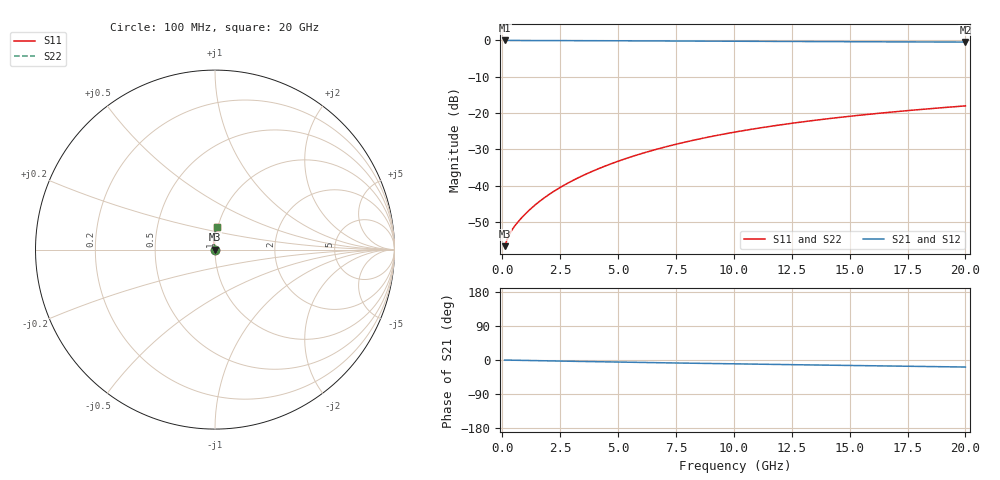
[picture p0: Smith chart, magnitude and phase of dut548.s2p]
! Touchstone file exported from HFSS 2024.1.0
!  File:  C:/UserFiles/LocalFiles/RDL_TSV_Batchsim/temp_RDL_top_548_1779680859.aedt
!  Generated:  11:49:39 AM May 25, 2026
!  Design:  RDL_top
!  Project:  temp_RDL_top_548_1779680859
!  Setup:  Setup1
!  Solution:  Sweep
! Variables:
!  dtsv = 10.80580581um
!  hbump = 3um
!  htsv = 71.25um
!  ldown = 100um
!  lrdl = 300.99um
!  p = 40
!  p1 = 40.96um
!  rhole = 1um
!  t = 450um
!  tdown = 3.915915916um
!  trdl = 3.37um
!  wdown = 15.38538539um
!  wrdl = 29.09um
# GHz S MA R 50.000000
! Terminal data exported
! Port[1] = Box2_T1
! Port[2] = Box2_T2
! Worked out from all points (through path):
!   200 points, 100 MHz to 20 GHz, reference 50 ohm
!   highest |S21| = -0.01 dB at 100 MHz (marker M1); lowest = -0.5 dB at 20 GHz (marker M2)
!   group delay of S21, straight-line fit = 2.53 ps
!   lowest |S11| = -56.6 dB at 100 MHz (marker M3), VSWR 1.00, Z = 50.1 + j0.054 ohm
!   |S11| at or under -10 dB: start of sweep to end of sweep
!   |S22| runs from -56.6 to -18.0 dB; largest |S21 - S12| = 2.7e-15
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0.1  0.001476 21.4  0.9986 -0.1  0.9986 -0.1  0.001476 21.4
! Gamma 0 0 0 0
! Port Impedance 50 0 50 0
0.2  0.001795 34.0  0.9985 -0.2  0.9985 -0.2  0.001795 34.0
0.3  0.00212 41.1  0.9983 -0.4  0.9983 -0.4  0.00212 41.1
0.4  0.002417 46.2  0.9982 -0.5  0.9982 -0.5  0.002417 46.2
0.5  0.002696 50.5  0.9981 -0.6  0.9981 -0.6  0.002696 50.5
0.8  0.003526 61.0  0.9978 -0.9  0.9978 -0.9  0.003526 61.0
1.2  0.004734 71.1  0.9974 -1.4  0.9974 -1.4  0.004734 71.1
1.7  0.006421 79.5  0.9967 -1.9  0.9967 -1.9  0.006421 79.5
2.2  0.008286 85.4  0.9958 -2.5  0.9958 -2.5  0.008286 85.4
2.8  0.01075 90.3  0.9946 -3.1  0.9946 -3.1  0.01075 90.3
3.5  0.01392 94.2  0.9928 -3.9  0.9928 -3.9  0.01392 94.2
4.2  0.01741 96.8  0.9908 -4.6  0.9908 -4.6  0.01741 96.8
5  0.02176 98.6  0.9884 -5.5  0.9884 -5.5  0.02176 98.6
5.9  0.02705 99.7  0.9855 -6.3  0.9855 -6.3  0.02704 99.7
6.8  0.03268 99.9  0.9826 -7.2  0.9826 -7.2  0.03268 99.9
8.4  0.04333 99.2  0.9774 -8.7  0.9774 -8.7  0.04332 99.2
10.1  0.0552 97.6  0.9722 -10.2  0.9722 -10.2  0.0552 97.5
11.7  0.06664 95.6  0.9678 -11.6  0.9678 -11.6  0.06663 95.6
13.4  0.07889 93.4  0.9634 -13.1  0.9634 -13.1  0.07887 93.4
15  0.09039 91.2  0.9596 -14.4  0.9596 -14.4  0.09037 91.2
16.7  0.1025 89.0  0.9558 -15.8  0.9558 -15.8  0.1025 88.9
20  0.1256 84.7  0.949 -18.6  0.949 -18.6  0.1256 84.7
